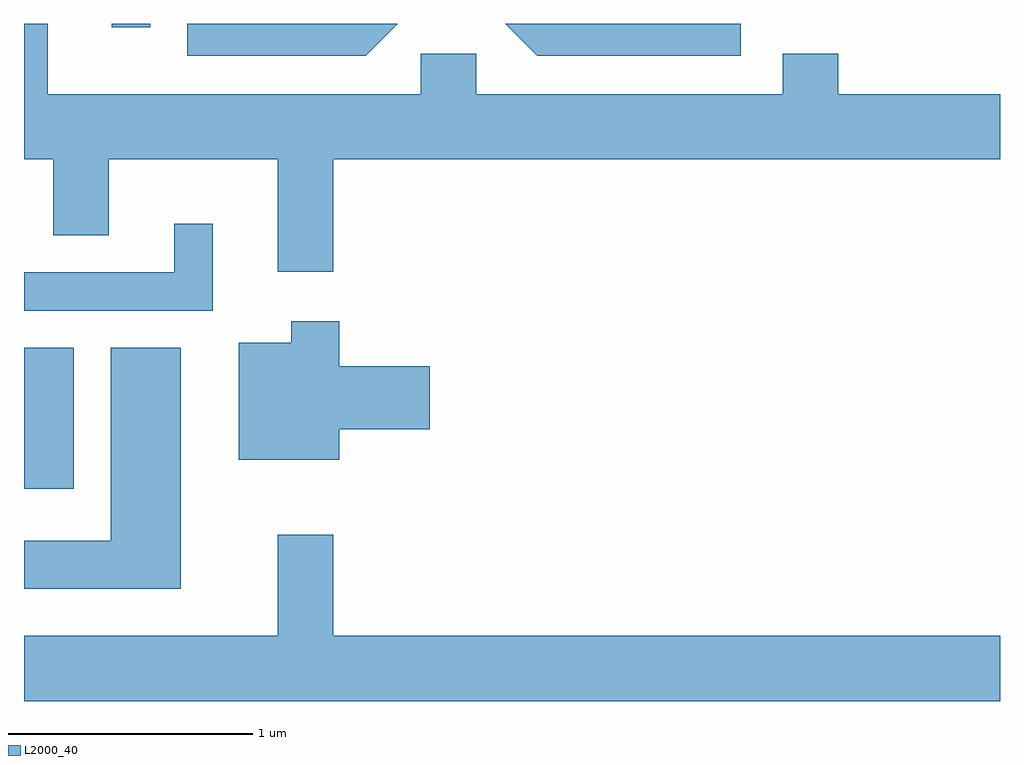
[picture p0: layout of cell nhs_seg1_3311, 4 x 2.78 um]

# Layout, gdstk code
import gdstk
lib = gdstk.Library(unit=1e-6, precision=1e-09)
def R(c, l, rs):  # rectangles x0, y0, x1, y1
    for r in rs: c.add(gdstk.rectangle(r[:2], r[2:], *l))
def P(c, l, *ps):  # polygons
    for p in ps: c.add(gdstk.Polygon(p, *l))
L2000_40 = (2000, 40)

nhs_seg1_3311 = lib.new_cell('nhs_seg1_3311')
R(nhs_seg1_3311, L2000_40, [(285.611,873.806,285.814,874.384), (285.971,875.698,286.129,875.712)])
P(nhs_seg1_3311, L2000_40, [(286.879,875.156),(289.611,875.156),(289.611,875.424),(288.949,875.424),(288.949,875.589),(288.721,875.589),(288.721,875.424),(287.464,875.424),(287.464,875.589),(287.236,875.589),(287.236,875.424),(285.709,875.424),(285.709,875.712),(285.611,875.712),(285.611,875.156),(285.731,875.156),(285.731,874.846),(285.959,874.846),(285.959,875.156),(286.651,875.156),(286.651,874.696),(286.879,874.696)],
  [(287.143,875.712),(286.281,875.712),(286.281,875.581),(287.012,875.581)],
  [(288.549,875.712),(287.583,875.712),(287.714,875.581),(288.549,875.581)],
  [(286.384,874.893),(286.226,874.893),(286.226,874.694),(285.611,874.694),(285.611,874.536),(286.384,874.536)],
  [(286.904,874.051),(287.274,874.051),(287.274,874.309),(286.904,874.309),(286.904,874.494),(286.706,874.494),(286.706,874.404),(286.491,874.404),(286.491,873.926),(286.904,873.926)],
  [(286.254,874.384),(285.966,874.384),(285.966,873.594),(285.611,873.594),(285.611,873.396),(286.254,873.396)],
  [(289.611,873.204),(286.879,873.204),(286.879,873.619),(286.651,873.619),(286.651,873.204),(285.611,873.204),(285.611,872.936),(289.611,872.936)])

lib.write_gds('nhs_seg1_3311.gds')
